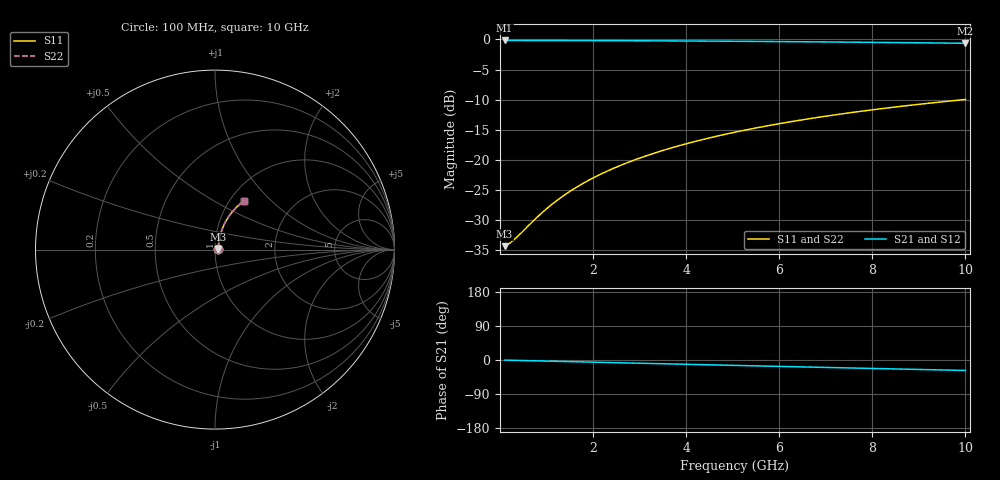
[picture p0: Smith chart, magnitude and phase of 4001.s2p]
# Hz S RI R 50.00
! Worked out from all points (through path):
!   100 points, 100 MHz to 10 GHz, reference 50 ohm
!   highest |S21| = -0.17 dB at 100 MHz (marker M1); lowest = -0.6 dB at 10 GHz (marker M2)
!   group delay of S21, straight-line fit = 7.67 ps
!   lowest |S11| = -34.4 dB at 100 MHz (marker M3), VSWR 1.04, Z = 51.9 + j0.344 ohm
!   |S11| at or under -10 dB: start of sweep to 9.98 GHz
!   |S22| runs from -34.4 to -10.0 dB; largest |S21 - S12| = 0
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1e8  0.0188 0.00331  0.9812 -0.00488  0.9812 -0.00488  0.0188 0.00331
2e8  0.019 0.00661  0.981 -0.00975  0.981 -0.00975  0.019 0.00661
3e8  0.0192 0.00992  0.9808 -0.0146  0.9808 -0.0146  0.0192 0.00992
4e8  0.0194 0.0132  0.9806 -0.0195  0.9806 -0.0195  0.0194 0.0132
8e8  0.0204 0.0264  0.9795 -0.039  0.9795 -0.039  0.0204 0.0264
1.1e9  0.0214 0.0362  0.9784 -0.0535  0.9784 -0.0535  0.0214 0.0362
1.4e9  0.0227 0.046  0.977 -0.068  0.977 -0.068  0.0227 0.046
1.6e9  0.0238 0.0525  0.9759 -0.0777  0.9759 -0.0777  0.0238 0.0525
1.8e9  0.0249 0.059  0.9746 -0.0873  0.9746 -0.0873  0.0249 0.059
2.1e9  0.0269 0.0687  0.9725 -0.1017  0.9725 -0.1017  0.0269 0.0687
2.5e9  0.03 0.0815  0.9692 -0.1208  0.9692 -0.1208  0.03 0.0815
2.9e9  0.0335 0.0941  0.9654 -0.1397  0.9654 -0.1397  0.0335 0.0941
3.4e9  0.0386 0.1096  0.9599 -0.1631  0.9599 -0.1631  0.0386 0.1096
3.8e9  0.0432 0.1218  0.9549 -0.1816  0.9549 -0.1816  0.0432 0.1218
4.2e9  0.0483 0.1337  0.9494 -0.1998  0.9494 -0.1998  0.0483 0.1337
4.6e9  0.0538 0.1454  0.9435 -0.2178  0.9435 -0.2178  0.0538 0.1454
5.1e9  0.0613 0.1597  0.9353 -0.24  0.9353 -0.24  0.0613 0.1597
5.9e9  0.0746 0.1815  0.9209 -0.2745  0.9209 -0.2745  0.0746 0.1815
6.7e9  0.0894 0.2021  0.9048 -0.3078  0.9048 -0.3078  0.0894 0.2021
7.5e9  0.1056 0.2213  0.8872 -0.3397  0.8872 -0.3397  0.1056 0.2213
8.4e9  0.1252 0.2411  0.8657 -0.3739  0.8657 -0.3739  0.1252 0.2411
1e10  0.1632 0.2715  0.8239 -0.43  0.8239 -0.43  0.1632 0.2715
